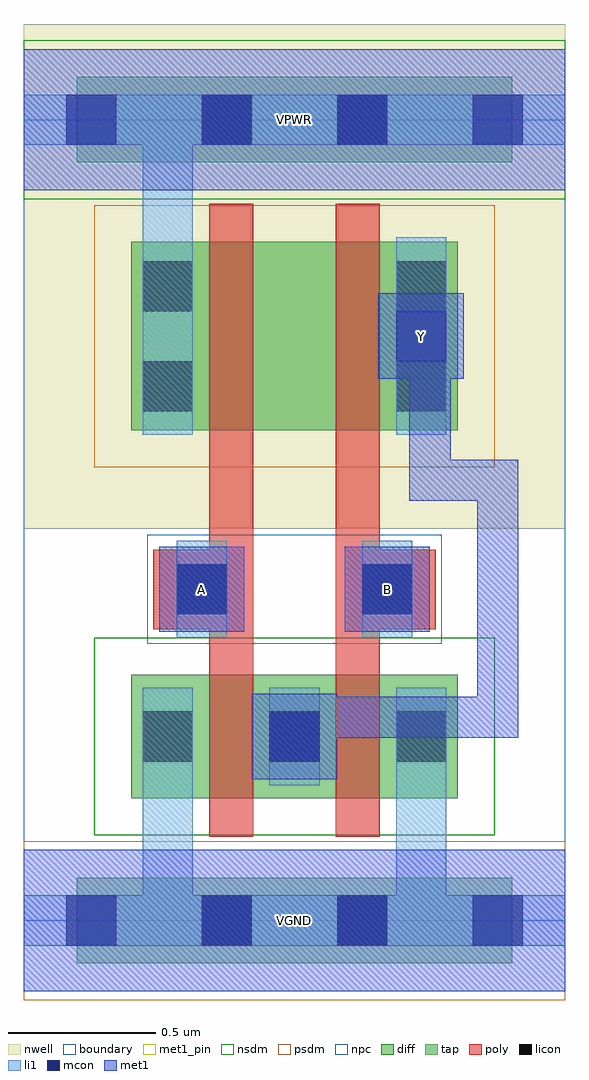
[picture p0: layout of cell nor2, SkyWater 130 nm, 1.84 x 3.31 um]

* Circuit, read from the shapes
.subckt nor2 A B VGND VPWR Y
XM1 Y A VGND VGND sky130_fd_pr__nfet_01v8 w=0.42 l=0.15
XM2 VGND B Y VGND sky130_fd_pr__nfet_01v8 w=0.42 l=0.15
XM3 n1 A VPWR VPWR sky130_fd_pr__pfet_01v8 w=0.64 l=0.15
XM4 Y B n1 VPWR sky130_fd_pr__pfet_01v8 w=0.64 l=0.15
.ends

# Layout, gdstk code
import gdstk
lib = gdstk.Library(unit=1e-6, precision=1e-09)
def R(c, l, rs):  # rectangles x0, y0, x1, y1
    for r in rs: c.add(gdstk.rectangle(r[:2], r[2:], *l))
def A(c, l, x, y, w, h, nx, ny, dx, dy):  # array of equal rectangles
    R(c, l, [(x+i*dx, y+j*dy, x+i*dx+w, y+j*dy+h) for i in range(nx) for j in range(ny)])
nwell = (64, 20)
diff = (65, 20)
tap = (65, 44)
poly = (66, 20)
licon = (66, 44)
li1 = (67, 20)
mcon = (67, 44)
met1_pin = (68, 16)
met1 = (68, 20)
nsdm = (93, 44)
psdm = (94, 20)
npc = (95, 20)
boundary = (235, 4)

nor2 = lib.new_cell('nor2')
R(nor2, nwell, [(0,1.33,1.84,3.045)])
R(nor2, diff, [(0.365,0.415,1.475,0.835), (0.365,1.665,1.475,2.305)])
R(nor2, tap, [(0.18,-0.145,1.66,0.145), (0.18,2.575,1.66,2.865)])
R(nor2, poly, [(0.63,0.285,0.78,2.435), (1.06,0.285,1.21,2.435), (0.44,0.99,0.77,1.26), (1.07,0.99,1.4,1.26)])
A(nor2, licon, 0.405, 0.54, 0.17, 0.17, 3, 1, 0.43, 0)
R(nor2, licon, [(0.605,-0.085,0.775,0.085), (1.065,-0.085,1.235,0.085), (0.52,1.04,0.69,1.21), (1.15,1.04,1.32,1.21), (0.405,1.73,0.575,1.9), (1.265,1.73,1.435,1.9), (0.405,2.07,0.575,2.24), (1.265,2.07,1.435,2.24), (0.605,2.635,0.775,2.805), (1.065,2.635,1.235,2.805)])
A(nor2, li1, 0.405, 0.46, 0.17, 0.33, 3, 1, 0.43, 0)
R(nor2, li1, [(0,-0.085,1.84,0.085), (0.405,-0.085,0.575,0.79), (1.265,-0.085,1.435,0.79), (0.52,0.96,0.69,1.29), (1.15,0.96,1.32,1.29), (0.405,1.65,0.575,2.32), (0.405,1.65,0.575,2.805), (1.265,1.65,1.435,2.32), (0,2.635,1.84,2.805)])
A(nor2, mcon, 0.145, -0.085, 0.17, 0.17, 4, 2, 0.46, 2.72)
R(nor2, mcon, [(0.835,0.54,1.005,0.71), (0.52,1.04,0.69,1.21), (1.15,1.04,1.32,1.21), (1.265,1.9,1.435,2.07)])
R(nor2, met1_pin, [(0,-0.24,1.84,0.24), (0.46,0.98,0.75,1.27), (1.09,0.98,1.38,1.27), (1.205,1.84,1.495,2.13), (0,2.48,1.84,2.96)])
R(nor2, met1, [(0,-0.24,1.84,0.24), (0.775,0.48,1.065,0.77), (0.85,0.62,0.99,0.76), (0.85,0.62,1.68,0.76), (1.54,0.62,1.68,1.565), (0.46,0.98,0.75,1.27), (1.09,0.98,1.38,1.27), (1.31,1.425,1.45,2.025), (1.31,1.425,1.68,1.565), (1.45,1.425,1.54,1.565), (1.45,1.425,1.54,1.565), (1.45,1.425,1.54,1.565), (1.45,1.425,1.54,1.565), (1.45,1.425,1.54,1.565), (1.45,1.425,1.54,1.565), (1.205,1.84,1.495,2.13), (1.31,1.885,1.45,2.025), (0,2.48,1.84,2.96)])
R(nor2, nsdm, [(0.24,0.29,1.6,0.96), (0,2.45,1.84,2.99)])
R(nor2, psdm, [(0,-0.27,1.84,0.27), (0.24,1.54,1.6,2.43)])
R(nor2, npc, [(0.42,0.94,1.42,1.31)])
R(nor2, boundary, [(0,0,1.84,2.72)])
nor2.add(gdstk.Label('A', (0.605,1.125), layer=68, texttype=5))
nor2.add(gdstk.Label('B', (1.235,1.125), layer=68, texttype=5))
nor2.add(gdstk.Label('Y', (1.35,1.985), layer=68, texttype=5))
nor2.add(gdstk.Label('VPWR', (0.92,2.72), layer=68, texttype=5))
nor2.add(gdstk.Label('VGND', (0.92,0), layer=68, texttype=5))
nor2.add(gdstk.Label('A', (0.605,1.125), layer=68, texttype=16))
nor2.add(gdstk.Label('B', (1.235,1.125), layer=68, texttype=16))
nor2.add(gdstk.Label('Y', (1.35,1.985), layer=68, texttype=16))
nor2.add(gdstk.Label('VPWR', (0.92,2.72), layer=68, texttype=16))
nor2.add(gdstk.Label('VGND', (0.92,0), layer=68, texttype=16))

lib.write_gds('nor2.gds')
